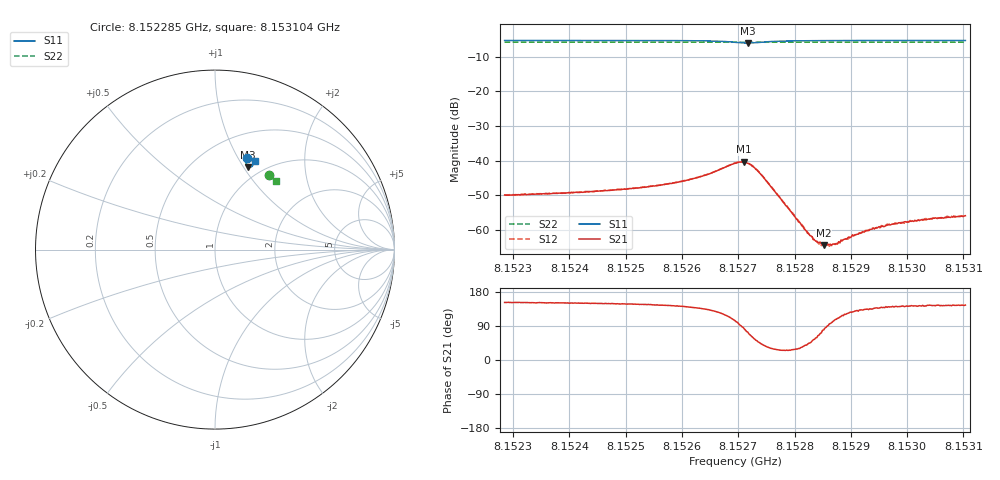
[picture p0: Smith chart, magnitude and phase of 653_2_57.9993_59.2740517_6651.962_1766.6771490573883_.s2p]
#  HZ  S  RI  R  50.00
! Rohde & Schwarz Vector Network Analyzer
! Rohde-Schwarz,ZNB20-2Port,1311601062101988,3.16
! Created: UTC 3/21/2024, 1:19:38 AM
! freq[Hz]  re:S11  im:S11  re:S21  im:S21  re:S12  im:S12  re:S22  im:S22
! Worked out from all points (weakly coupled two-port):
!   401 points, 8.152285 GHz to 8.153104 GHz, reference 50 ohm
!   highest |S21| = -40.34 dB at 8.152711 GHz (marker M1); lowest = -64.4 dB at 8.152852 GHz (marker M2)
!   lowest |S11| = -6.1 dB at 8.152717 GHz (marker M3), VSWR 2.97, Z = 43 + j52.6 ohm
!   |S11| at or under -10 dB: nowhere
!   |S22| runs from -5.9 to -5.8 dB; largest |S21 - S12| = 0.00028
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8.1522847e9  0.1765 0.511  -0.00281 0.0015  -0.0028 0.00152  0.3011 0.4137
8.1524219e9  0.1871 0.5071  -0.00302 0.00176  -0.00305 0.00181  0.3082 0.4083
8.1524996e9  0.1938 0.5042  -0.00325 0.00206  -0.00325 0.00213  0.3121 0.4052
8.152559e9  0.1997 0.501  -0.00359 0.00255  -0.00359 0.00257  0.3149 0.4027
8.152602e9  0.205 0.4973  -0.00395 0.00315  -0.00393 0.00328  0.3172 0.4008
8.1526327e9  0.2093 0.4925  -0.00422 0.00405  -0.00421 0.00413  0.3187 0.3995
8.1526941e9  0.2079 0.4651  -0.00219 0.00888  -0.0021 0.00899  0.3211 0.3961
8.1527105e9  0.1924 0.4589  0.00125 0.00954  0.00136 0.00947  0.3213 0.3955
8.1527167e9  0.1853 0.4604  0.00255 0.00879  0.00278 0.00883  0.3214 0.3954
8.1527289e9  0.1752 0.4697  0.00448 0.00646  0.00456 0.0065  0.3218 0.3955
8.1527433e9  0.1732 0.4825  0.00452 0.00384  0.0046 0.0038  0.3225 0.3954
8.152819e9  0.1931 0.5001  0.000776 0.000629  0.000814 0.000609  0.327 0.3926
8.1528313e9  0.1954 0.5002  0.000504 0.000612  0.000547 0.000579  0.3276 0.3922
8.1528436e9  0.1974 0.5003  0.00027 0.000604  0.000272 0.000562  0.3282 0.3915
8.1528518e9  0.1988 0.5002  0.000111 0.00059  0.000147 0.000611  0.3287 0.3912
8.1528641e9  0.2003 0.4999  -7.18e-05 0.000616  -4.28e-05 0.0006  0.3293 0.3906
8.1528722e9  0.2014 0.4998  -0.000178 0.000601  -0.000148 0.000596  0.3296 0.3904
8.152903e9  0.205 0.4992  -0.000503 0.000669  -0.000505 0.000686  0.3312 0.389
8.1529234e9  0.2071 0.4988  -0.000635 0.000672  -0.000627 0.000688  0.3321 0.3882
8.1529685e9  0.2112 0.4975  -0.000905 0.00076  -0.000915 0.000782  0.3344 0.3862
8.1530463e9  0.2178 0.4953  -0.00119 0.000871  -0.00118 0.000906  0.338 0.3828
8.1531036e9  0.2222 0.4937  -0.00131 0.000918  -0.0013 0.000953  0.3409 0.3804
